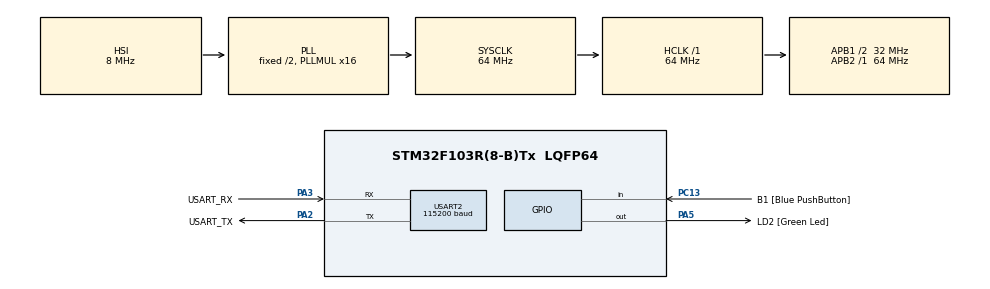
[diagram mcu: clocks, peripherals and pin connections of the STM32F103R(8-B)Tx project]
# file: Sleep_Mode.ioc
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Mcu.Family=STM32F1
Mcu.Name=STM32F103R(8-B)Tx
Mcu.Package=LQFP64
NVIC.PriorityGroup=NVIC_PRIORITYGROUP_4
PA13.GPIO_Label=TMS
PA13.Mode=Serial_Wire
PA13.Signal=SYS_JTMS-SWDIO
PA14.GPIO_Label=TCK
PA14.Mode=Serial_Wire
PA14.Signal=SYS_JTCK-SWCLK
PA2.GPIO_Label=USART_TX
PA2.GPIO_Mode=GPIO_MODE_AF_PP
PA2.GPIO_PuPd=GPIO_NOPULL
PA2.GPIO_Speed=GPIO_SPEED_FREQ_LOW
PA2.Mode=Asynchronous
PA2.Signal=USART2_TX
PA3.GPIO_Label=USART_RX
PA3.GPIO_PuPd=GPIO_NOPULL
PA3.GPIO_Speed=GPIO_SPEED_FREQ_LOW
PA3.Mode=Asynchronous
PA3.Signal=USART2_RX
PA5.GPIO_Label=LD2 [Green Led]
PA5.GPIO_ModeDefaultOutputPP=GPIO_MODE_OUTPUT_PP
PA5.GPIO_PuPd=GPIO_NOPULL
PA5.GPIO_Speed=GPIO_SPEED_FREQ_LOW
PA5.Signal=GPIO_Output
PB3.GPIO_Label=SWO
PB3.Signal=SYS_JTDO-TRACESWO
PC13-TAMPER-RTC.GPIO_Label=B1 [Blue PushButton]
PC13-TAMPER-RTC.GPIO_PuPd=GPIO_NOPULL
PC13-TAMPER-RTC.Signal=GPIO_Input
PC14-OSC32_IN.Mode=LSE-External-Oscillator
PC14-OSC32_IN.Signal=RCC_OSC32_IN
PC15-OSC32_OUT.Mode=LSE-External-Oscillator
PC15-OSC32_OUT.Signal=RCC_OSC32_OUT
PD0-OSC_IN.Mode=HSE-External-Clock-Source
PD0-OSC_IN.Signal=RCC_OSC_IN
PD1-OSC_OUT.Mode=HSE-External-Clock-Source
PD1-OSC_OUT.Signal=RCC_OSC_OUT
ProjectManager.HeapSize=0x200
ProjectManager.StackSize=0x400
ProjectManager.TargetToolchain=STM32CubeIDE
RCC.AHBFreq_Value=64000000
RCC.APB1CLKDivider=RCC_HCLK_DIV2
RCC.APB1Freq_Value=32000000
RCC.APB1TimFreq_Value=64000000
RCC.APB2Freq_Value=64000000
RCC.APB2TimFreq_Value=64000000
RCC.HCLKFreq_Value=64000000
RCC.PLLMUL=RCC_PLL_MUL16
RCC.RTCClockSelection=RCC_RTCCLKSOURCE_LSE
RCC.SYSCLKFreq_VALUE=64000000
RCC.SYSCLKSource=RCC_SYSCLKSOURCE_PLLCLK
RCC.USBFreq_Value=64000000
USART2.BaudRate=115200
USART2.VirtualMode=VM_ASYNC
board=NUCLEO-F103RB

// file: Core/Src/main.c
/* USER CODE BEGIN Header */
/**
 ******************************************************************************
 * @file           : main.c
 * @brief          : Main program body
 ******************************************************************************
 * @attention
 *
 * Copyright (c) 2026 STMicroelectronics.
 * All rights reserved.
 *
 * This software is licensed under terms that can be found in the LICENSE file
 * in the root directory of this software component.
 * If no LICENSE file comes with this software, it is provided AS-IS.
 *
 ******************************************************************************
 */
/**
 * 03_Sleep_Mode_c  —  [계층: HAL + CMSIS]  Sleep 모드(WFI): 할 일이 없으면 CPU 클럭 정지
 *
 * 동작
 *   - B1(PC13) 을 누를 때마다 "바쁜 대기" <-> "WFI 슬립" 모드가 바뀐다 (LD2 는 두 모드 모두 0.5s 점멸).
 *   - 1초마다 "그 1초 동안 main 루프가 몇 바퀴 돌았는가"를 UART(115200)로 출력한다.
 *       바쁜 대기 모드 : 수십만~수백만 바퀴 (CPU 가 계속 일함)
 *       슬립 모드      : 약 1000 바퀴 (SysTick 1ms 인터럽트로 깰 때마다 1바퀴)  -> 나머지 시간 CPU 클럭 정지
 *   - 실제 전류 차이는 Nucleo 의 IDD 점퍼(JP6)에 전류계를 연결해 확인한다 (64MHz 동작 vs Sleep).
 *
 * Sleep 모드 (PM0056 4.4, RM0008 5장)
 *   WFI 명령 : "Wait For Interrupt" -> 코어 클럭(HCLK) 정지, 주변장치와 SRAM 은 계속 동작
 *   SCB->SCR.SLEEPDEEP = 0  : Sleep (1 이면 Stop/Standby)
 *   SCB->SCR.SLEEPONEXIT    : 1 이면 ISR 이 끝나자마자 다시 잠듦 (여기서는 0)
 *   깨우는 원인 : 우선순위가 허용하는 "모든" 인터럽트 (여기서는 SysTick 1ms, EXTI 버튼)
 *   웨이크업 지연이 가장 짧다(수 사이클) -> 인터럽트 응답이 중요한 저전력 대기에 적합.
 *
 * 디버깅 주의: Sleep 중에도 디버거가 붙어 있으려면 DBGMCU_CR.DBG_SLEEP=1 이 필요하다 (아래에서 설정).
 *   DBGMCU_CR 은 디버그 모드에서만 접근되므로(ES096 2.2.2) 디버거 없이 실행하면 이 쓰기는 효과가 없다.
 *
 * ISR vs 콜백: SysTick_Handler (stm32f1xx_it.c) 가 HAL_IncTick() 만 호출, 버튼은 폴링으로 읽는다.
 */
/* USER CODE END Header */
#include "main.h"

/* USER CODE BEGIN Includes */
#include <stdio.h>
#include <string.h>
/* USER CODE END Includes */

UART_HandleTypeDef huart2;

void SystemClock_Config(void);
static void MX_GPIO_Init(void);
static void MX_USART2_UART_Init(void);

int main(void)
{

  /* USER CODE BEGIN 1 */
  int sleep_mode = 0;
  uint32_t loops = 0;
  uint32_t t_led, t_print;
  char msg[80];
  /* USER CODE END 1 */

  /* MCU Configuration--------------------------------------------------------*/

  /* Reset of all peripherals, Initializes the Flash interface and the Systick. */
  HAL_Init();

  /* Configure the system clock */
  SystemClock_Config();

  /* Initialize all configured peripherals */
  MX_GPIO_Init();
  MX_USART2_UART_Init();
  /* USER CODE BEGIN 2 */
  HAL_DBGMCU_EnableDBGSleepMode();                  /* DBGMCU->CR.DBG_SLEEP = 1: 슬립 중에도 디버그 연결 유지 */

  t_led = HAL_GetTick();
  t_print = HAL_GetTick();
  /* USER CODE END 2 */

  /* Infinite loop */
  while (1)
  {

    /* USER CODE BEGIN 3 */
    loops++;

    uint32_t now = HAL_GetTick();
    if (now - t_led >= 500)  { t_led += 500;  HAL_GPIO_TogglePin(LD2_GPIO_Port, LD2_Pin); }   /* GPIOA->ODR bit5 */

    if (now - t_print >= 1000)
    {
      t_print += 1000;
      int n = snprintf(msg, sizeof msg, "[%s] loops/s = %lu\r\n",
                       sleep_mode ? "SLEEP(WFI)" : "BUSY-WAIT", (unsigned long)loops);
      HAL_UART_Transmit(&huart2, (uint8_t *)msg, (uint16_t)n, 100);
      loops = 0;
    }

    if (HAL_GPIO_ReadPin(B1_GPIO_Port, B1_Pin) == GPIO_PIN_RESET)   /* GPIOC->IDR bit13 : B1 모드 전환 (누르면 Low) */
    {
      HAL_Delay(30);
      sleep_mode = !sleep_mode;
      while (HAL_GPIO_ReadPin(B1_GPIO_Port, B1_Pin) == GPIO_PIN_RESET) {}
      HAL_Delay(30);
      loops = 0;
    }

    if (sleep_mode)
    {
      __WFI();                                  /* 다음 인터럽트(SysTick 1ms 등)까지 코어 정지. SCB->SCR.SLEEPDEEP = 0 이므로 Sleep */
    }
  }
  /* USER CODE END 3 */
}

void SystemClock_Config(void)
{
  RCC_OscInitTypeDef RCC_OscInitStruct = {0};
  RCC_ClkInitTypeDef RCC_ClkInitStruct = {0};

  /** Initializes the RCC Oscillators according to the specified parameters
  * in the RCC_OscInitTypeDef structure.
  */
  RCC_OscInitStruct.OscillatorType = RCC_OSCILLATORTYPE_HSI;
  RCC_OscInitStruct.HSIState = RCC_HSI_ON;
  RCC_OscInitStruct.HSICalibrationValue = RCC_HSICALIBRATION_DEFAULT;
  RCC_OscInitStruct.PLL.PLLState = RCC_PLL_ON;
  RCC_OscInitStruct.PLL.PLLSource = RCC_PLLSOURCE_HSI_DIV2;
  RCC_OscInitStruct.PLL.PLLMUL = RCC_PLL_MUL16;
  if (HAL_RCC_OscConfig(&RCC_OscInitStruct) != HAL_OK)
  {
    Error_Handler();
  }

  /** Initializes the CPU, AHB and APB buses clocks
  */
  RCC_ClkInitStruct.ClockType = RCC_CLOCKTYPE_HCLK|RCC_CLOCKTYPE_SYSCLK
                              |RCC_CLOCKTYPE_PCLK1|RCC_CLOCKTYPE_PCLK2;
  RCC_ClkInitStruct.SYSCLKSource = RCC_SYSCLKSOURCE_PLLCLK;
  RCC_ClkInitStruct.AHBCLKDivider = RCC_SYSCLK_DIV1;
  RCC_ClkInitStruct.APB1CLKDivider = RCC_HCLK_DIV2;
  RCC_ClkInitStruct.APB2CLKDivider = RCC_HCLK_DIV1;

  if (HAL_RCC_ClockConfig(&RCC_ClkInitStruct, FLASH_LATENCY_2) != HAL_OK)
  {
    Error_Handler();
  }
}

static void MX_USART2_UART_Init(void)
{

  huart2.Instance = USART2;
  huart2.Init.BaudRate = 115200;
  huart2.Init.WordLength = UART_WORDLENGTH_8B;
  huart2.Init.StopBits = UART_STOPBITS_1;
  huart2.Init.Parity = UART_PARITY_NONE;
  huart2.Init.Mode = UART_MODE_TX_RX;
  huart2.Init.HwFlowCtl = UART_HWCONTROL_NONE;
  huart2.Init.OverSampling = UART_OVERSAMPLING_16;
  if (HAL_UART_Init(&huart2) != HAL_OK)
  {
    Error_Handler();
  }
  /* USER CODE BEGIN USART2_Init 2 */
  /* USART2 (ST-Link 가상 COM, PA2=TX / PA3=RX) 기본 폴링 송신용. 클럭/핀 설정은 stm32f1xx_hal_msp.c 의 HAL_UART_MspInit 에 있다. */
  /* USER CODE END USART2_Init 2 */

}

static void MX_GPIO_Init(void)
{
  GPIO_InitTypeDef GPIO_InitStruct = {0};

  /* GPIO Ports Clock Enable */
  __HAL_RCC_GPIOC_CLK_ENABLE();
  __HAL_RCC_GPIOD_CLK_ENABLE();
  __HAL_RCC_GPIOA_CLK_ENABLE();
  __HAL_RCC_GPIOB_CLK_ENABLE();

  /*Configure GPIO pin Output Level */
  HAL_GPIO_WritePin(LD2_GPIO_Port, LD2_Pin, GPIO_PIN_RESET);

  /*Configure GPIO pin : B1_Pin */
  GPIO_InitStruct.Pin = B1_Pin;
  GPIO_InitStruct.Mode = GPIO_MODE_INPUT;
  GPIO_InitStruct.Pull = GPIO_NOPULL;
  HAL_GPIO_Init(B1_GPIO_Port, &GPIO_InitStruct);

  /*Configure GPIO pin : LD2_Pin */
  GPIO_InitStruct.Pin = LD2_Pin;
  GPIO_InitStruct.Mode = GPIO_MODE_OUTPUT_PP;
  GPIO_InitStruct.Pull = GPIO_NOPULL;
  GPIO_InitStruct.Speed = GPIO_SPEED_FREQ_LOW;
  HAL_GPIO_Init(LD2_GPIO_Port, &GPIO_InitStruct);

}

void Error_Handler(void)
{
  __disable_irq();
  while (1) {
  }
}
#ifdef USE_FULL_ASSERT
/**
  * @brief  Reports the name of the source file and the source line number
  *         where the assert_param error has occurred.
  * @param  file: pointer to the source file name
  * @param  line: assert_param error line source number
  * @retval None
  */
void assert_failed(uint8_t *file, uint32_t line)
{
  /* USER CODE BEGIN 6 */
  /* User can add his own implementation to report the file name and line
     number, ex: printf("Wrong parameters value: file %s on line %d\r\n", file,
     line) */
  /* USER CODE END 6 */
}
#endif /* USE_FULL_ASSERT */
